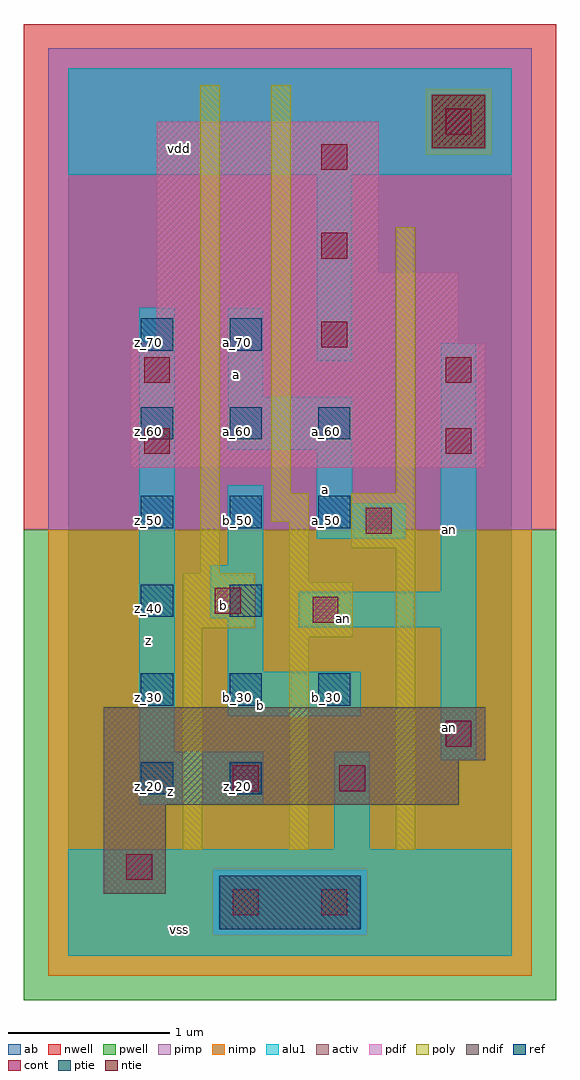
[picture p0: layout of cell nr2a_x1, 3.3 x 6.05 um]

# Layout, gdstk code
import gdstk
lib = gdstk.Library(unit=1e-6, precision=2.5e-09)
def R(c, l, rs):  # rectangles x0, y0, x1, y1
    for r in rs: c.add(gdstk.rectangle(r[:2], r[2:], *l))
def A(c, l, x, y, w, h, nx, ny, dx, dy):  # array of equal rectangles
    R(c, l, [(x+i*dx, y+j*dy, x+i*dx+w, y+j*dy+h) for i in range(nx) for j in range(ny)])
ndif = (3, 0)
pdif = (4, 0)
ntie = (5, 0)
ptie = (6, 0)
ref = (24, 0)
cont = (25, 0)
pwell = (41, 0)
nwell = (42, 0)
activ = (43, 0)
pimp = (44, 0)
nimp = (45, 0)
poly = (46, 0)
alu1 = (49, 0)
ab = (63, 0)

nr2a_x1 = lib.new_cell('nr2a_x1')
R(nr2a_x1, ndif, [(0.22,0.385,0.605,0.935), (0.22,0.935,2.42,1.21), (0.22,1.21,2.585,1.54)])
R(nr2a_x1, pdif, [(0.385,3.025,2.585,3.795), (0.55,3.795,2.42,4.235), (0.55,4.235,1.925,5.17)])
R(nr2a_x1, ntie, [(2.255,5.005,2.585,5.335)])
R(nr2a_x1, ptie, [(0.935,0.165,1.815,0.495)])
A(nr2a_x1, ref, 0.45, 1.55, 0.2, 0.2, 3, 2, 0.55, 1.1)
A(nr2a_x1, ref, 0.45, 3.2, 0.2, 0.2, 3, 1, 0.55, 0)
R(nr2a_x1, ref, [(0.45,1,0.65,1.2), (1,1,1.2,1.2), (0.45,2.1,0.65,2.3), (1,2.1,1.2,2.3), (0.45,3.75,0.65,3.95), (1,3.75,1.2,3.95)])
A(nr2a_x1, cont, 1.57, 3.77, 0.16, 0.16, 1, 3, 0, 0.55)
R(nr2a_x1, cont, [(1.02,0.25,1.18,0.41), (1.57,0.25,1.73,0.41), (0.36,0.47,0.52,0.63), (1.02,1.02,1.18,1.18), (1.68,1.02,1.84,1.18), (2.34,1.295,2.5,1.455), (1.515,2.065,1.675,2.225), (0.91,2.12,1.07,2.28), (1.845,2.615,2.005,2.775), (0.47,3.11,0.63,3.27), (2.34,3.11,2.5,3.27), (0.47,3.55,0.63,3.71), (2.34,3.55,2.5,3.71), (2.34,5.09,2.5,5.25)])
R(nr2a_x1, pwell, [(-0.275,-0.275,3.025,2.64)])
R(nr2a_x1, nwell, [(-0.275,2.64,3.025,5.775)])
R(nr2a_x1, activ, [(0.935,0.165,1.815,0.495), (0.22,0.385,0.605,0.935), (0.22,0.935,2.42,1.21), (0.22,1.21,2.585,1.54), (0.385,3.025,2.585,3.795), (0.55,3.795,2.42,4.235), (0.55,4.235,1.925,5.17), (2.255,5.005,2.585,5.335)])
R(nr2a_x1, pimp, [(0.895,0.125,1.855,0.535), (-0.125,2.64,2.875,4.965), (-0.125,4.965,2.215,5.375), (2.625,4.965,2.875,5.375), (-0.125,5.375,2.875,5.625)])
R(nr2a_x1, nimp, [(-0.125,-0.125,2.875,0.125), (-0.125,0.125,0.895,0.535), (1.855,0.125,2.875,0.535), (-0.125,0.535,2.875,2.64), (2.215,4.965,2.625,5.375)])
R(nr2a_x1, poly, [(0.71,0.655,0.83,2.03), (1.37,0.655,1.49,1.975), (2.03,0.655,2.15,2.525), (1.37,1.975,1.765,2.315), (0.71,2.03,1.16,2.37), (1.37,2.315,1.49,2.69), (0.82,2.37,0.94,5.395), (1.755,2.525,2.15,2.865), (1.26,2.69,1.49,2.865), (1.26,2.865,1.38,5.395), (2.03,2.865,2.15,4.515)])
R(nr2a_x1, alu1, [(0,0,2.75,0.66), (1.65,0.66,1.87,1.265), (0.44,0.935,1.21,1.265), (2.31,1.21,2.53,2.035), (0.44,1.265,0.66,4.015), (0.99,1.485,1.815,1.76), (0.99,1.76,1.21,2.09), (1.43,2.035,2.53,2.255), (0.88,2.09,1.21,2.42), (2.31,2.255,2.53,3.795), (0.99,2.42,1.21,2.915), (1.54,2.585,2.09,2.805), (1.54,2.805,1.76,3.135), (0.99,3.135,1.76,3.465), (0.99,3.465,1.21,4.015), (1.54,3.685,1.76,4.84), (0,4.84,2.75,5.5)])
R(nr2a_x1, ab, [(0,0,2.75,5.5)])
nr2a_x1.add(gdstk.Label('vss', (0.6875,0.165), layer=49, texttype=0))
nr2a_x1.add(gdstk.Label('an', (2.365,1.415), layer=49, texttype=0))
nr2a_x1.add(gdstk.Label('z', (0.6325,1.0175), layer=49, texttype=0))
nr2a_x1.add(gdstk.Label('b', (1.195,1.5525), layer=49, texttype=0))
nr2a_x1.add(gdstk.Label('an', (1.705,2.09), layer=49, texttype=0))
nr2a_x1.add(gdstk.Label('an', (2.365,2.64), layer=49, texttype=0))
nr2a_x1.add(gdstk.Label('b', (0.9625,2.1725), layer=49, texttype=0))
nr2a_x1.add(gdstk.Label('a', (1.595,2.8875), layer=49, texttype=0))
nr2a_x1.add(gdstk.Label('a', (1.045,3.6025), layer=49, texttype=0))
nr2a_x1.add(gdstk.Label('z', (0.495,1.9525), layer=49, texttype=0))
nr2a_x1.add(gdstk.Label('vdd', (0.6875,5.005), layer=49, texttype=0))
nr2a_x1.add(gdstk.Label('b_30', (1.05,1.6), layer=24, texttype=0))
nr2a_x1.add(gdstk.Label('z_20', (0.5,1.05), layer=24, texttype=0))
nr2a_x1.add(gdstk.Label('a_60', (1.05,3.25), layer=24, texttype=0))
nr2a_x1.add(gdstk.Label('z_30', (0.5,1.6), layer=24, texttype=0))
nr2a_x1.add(gdstk.Label('b_40', (1.05,2.15), layer=24, texttype=0))
nr2a_x1.add(gdstk.Label('z_70', (0.5,3.8), layer=24, texttype=0))
nr2a_x1.add(gdstk.Label('b_30', (1.6,1.6), layer=24, texttype=0))
nr2a_x1.add(gdstk.Label('a_60', (1.6,3.25), layer=24, texttype=0))
nr2a_x1.add(gdstk.Label('z_40', (0.5,2.15), layer=24, texttype=0))
nr2a_x1.add(gdstk.Label('z_50', (0.5,2.7), layer=24, texttype=0))
nr2a_x1.add(gdstk.Label('z_60', (0.5,3.25), layer=24, texttype=0))
nr2a_x1.add(gdstk.Label('b_50', (1.05,2.7), layer=24, texttype=0))
nr2a_x1.add(gdstk.Label('a_50', (1.6,2.7), layer=24, texttype=0))
nr2a_x1.add(gdstk.Label('z_20', (1.05,1.05), layer=24, texttype=0))
nr2a_x1.add(gdstk.Label('a_70', (1.05,3.8), layer=24, texttype=0))

lib.write_gds('nr2a_x1.gds')
